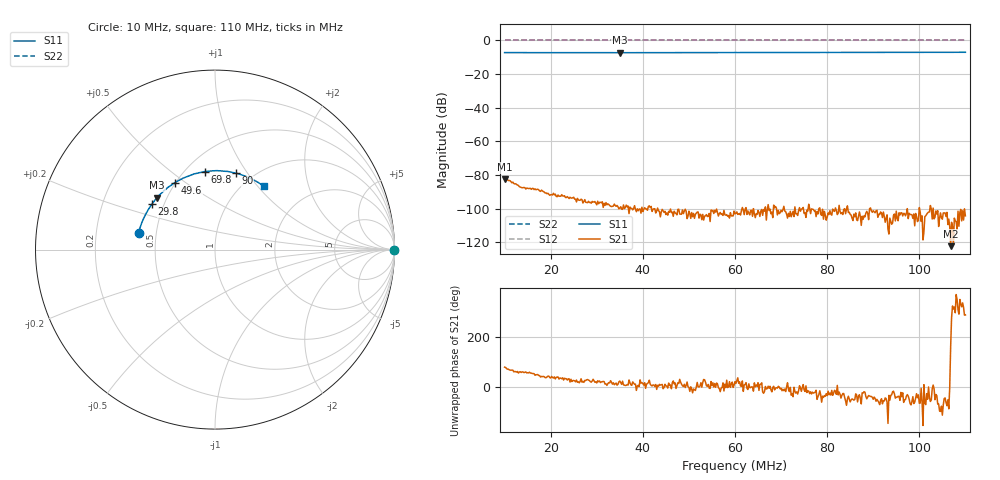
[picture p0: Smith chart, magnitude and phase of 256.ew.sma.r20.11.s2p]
! Anritsu VNA Master:  Model: MS2036C/10/77
! SN:  1601066
! /card0/usr/256.ew.sma.r20.11.s2p
! Existing Calibration Information:
! TYPE:  Current Settings,  Active Cal Settings
! TIME:  12/19/2017 02:27:53 PM,  12/19/2017 02:22:10 PM
! INTERNAL TEMP:  45.5 C,  45.0 C
! # POINTS:  501,  501
! START FREQ:  10.000 MHz,  10.000 MHz
! STOP FREQ:  110.000 MHz,  110.000 MHz
! SOURCE POWER:  High,  High
! IFBW:  100 Hz,  100 Hz
! AVG FACTOR:  1 ,  1
! REF PLANE 1:  0 mm,  0 mm
! REF PLANE 2:  0 mm,  0 mm
! CAL TYPE:  Full S11,  Full S11
! CAL METHOD:  SOLT,  SOLT
! CAL LINE TYPE:  Coax,  Coax
! DUT PORT 1:  N-Conn(F),  N-Conn(F)
! DUT PORT 2:  K-Conn(F),  K-Conn(F)
! CAL STATUS:  OK: Accuracy High,  --
# GHZ S RI R 50.0
! FREQ.GHZ  S11RE  S11IM  S21RE  S21IM  S12RE  S12IM  S22RE  S22IM
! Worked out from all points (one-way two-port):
!   501 points, 10 MHz to 110 MHz, reference 50 ohm
!   highest |S21| = -82.60 dB at 10 MHz (marker M1); lowest = -122.3 dB at 106.8 MHz (marker M2)
!   lowest |S11| = -7.3 dB at 35 MHz (marker M3), VSWR 2.53, Z = 22.2 + j15.8 ohm
!   |S11| at or under -10 dB: nowhere
!   |S22| runs from 0.0 to 0.0 dB; largest |S21 - S12| = 1
!   S11 on the Smith chart (normalised r, x): 10 MHz: 0.40, +0.09; 29.8 MHz: 0.43, +0.27; 49.6 MHz: 0.50, +0.46; 69.8 MHz: 0.62, +0.66; 90 MHz: 0.84, +0.89; 110 MHz: 1.23, +1.08
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0.01  -0.4258 0.0921  1.52e-05 7.25e-05  1 0  1 0
0.0142  -0.4155 0.1288  2.36e-05 3.54e-05  1 0  1 0
0.018  -0.403 0.1616  2.68e-05 2.33e-05  1 0  1 0
0.0212  -0.3909 0.1879  1.85e-05 1.41e-05  1 0  1 0
0.0268  -0.3659 0.2313  1.75e-05 5.68e-06  1 0  1 0
0.0298  -0.3524 0.253  1.37e-05 4.73e-06  1 0  1 0
0.035  -0.3218 0.2894  9.61e-06 4e-06  1 0  1 0
0.0404  -0.2887 0.3251  1.03e-05 2.91e-06  1 0  1 0
0.0434  -0.2679 0.3417  8.65e-06 3.33e-07  1 0  1 0
0.0476  -0.2379 0.3642  9.13e-06 2.6e-06  1 0  1 0
0.0496  -0.2232 0.3724  4.79e-06 1.62e-06  1 0  1 0
0.055  -0.1814 0.3963  8.71e-06 7.15e-07  1 0  1 0
0.06  -0.1411 0.4124  6.57e-06 2.42e-06  1 0  1 0
0.0628  -0.1181 0.4209  8.38e-06 -1.67e-06  1 0  1 0
0.0698  -0.0585 0.4346  7.46e-06 -1.13e-06  1 0  1 0
0.0768  0.00319 0.4401  8.93e-06 -3.56e-06  1 0  1 0
0.0844  0.0692 0.4355  7.99e-06 -9.13e-06  1 0  1 0
0.09  0.1167 0.4258  5.51e-06 -6.66e-06  1 0  1 0
0.0934  0.1441 0.4181  1.44e-06 -1e-06  1 0  1 0
0.0994  0.1937 0.3992  5.17e-06 -2.74e-06  1 0  1 0
0.1068  0.25 0.3681  -7.17e-07 2.72e-07  1 0  1 0
0.11  0.2725 0.352  1.78e-06 -5.86e-06  1 0  1 0
